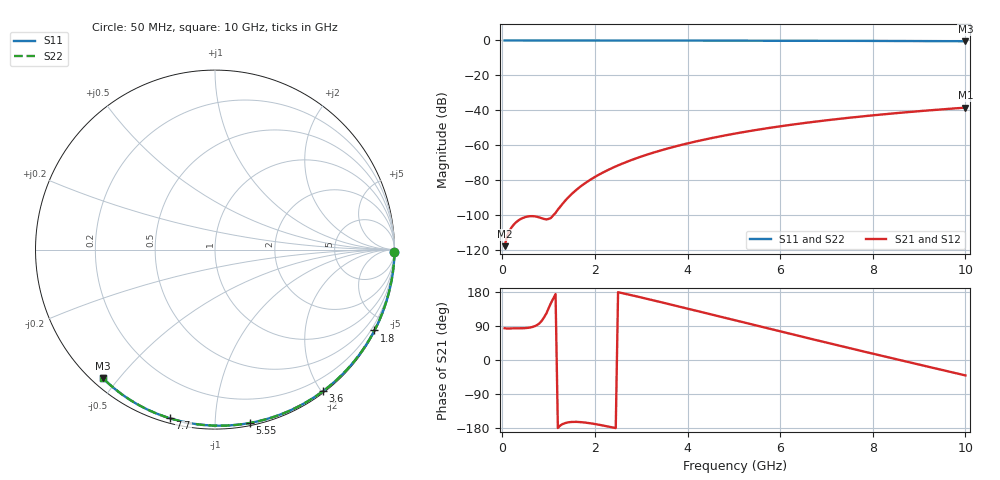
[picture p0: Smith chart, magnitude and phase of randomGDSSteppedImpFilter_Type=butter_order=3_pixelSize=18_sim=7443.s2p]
! freq	dB(S11)	phase(S11)	dB(S12)	phase(S12)
!  dB(S21)	phase(S21)	dB(S22)	phase(S22)
!S-par simulation data
#  GHz  S  DB  R 50
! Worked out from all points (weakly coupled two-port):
!   200 points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, 50 MHz to 10 GHz, reference 50 ohm
!   highest |S21| = -38.42 dB at 10 GHz (marker M1); lowest = -117.7 dB at 50 MHz (marker M2)
!   lowest |S11| = -0.4 dB at 10 GHz (marker M3), VSWR 39.14, Z = 1.54 - j22.6 ohm
!   |S11| at or under -10 dB: nowhere
!   |S22| runs from -0.4 to 0.0 dB; largest |S21 - S12| = 0
!   S11 on the Smith chart (normalised r, x): 50 MHz: open; 1.8 GHz: 0.04, -4.18; 3.6 GHz: 0.02, -2.02; 5.55 GHz: 0.02, -1.22; 7.7 GHz: 0.02, -0.77; 10 GHz: 0.03, -0.45
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0.05  -0.00 -0.8  -117.67 83.8  -117.67 83.8  -0.00 -0.8
0.9  -0.02 -13.6  -102.10 112.2  -102.10 112.2  -0.02 -13.6
1.75  -0.03 -26.2  -82.35 -164.6  -82.35 -164.6  -0.03 -26.2
1.8  -0.03 -26.9  -81.41 -165.3  -81.41 -165.3  -0.03 -26.9
1.85  -0.04 -27.6  -80.52 -166.1  -80.52 -166.1  -0.04 -27.6
1.9  -0.04 -28.4  -79.67 -167.0  -79.67 -167.0  -0.04 -28.4
2.05  -0.04 -30.5  -77.30 -170.0  -77.30 -170.0  -0.04 -30.5
2.25  -0.04 -33.5  -74.50 -174.6  -74.50 -174.6  -0.04 -33.5
2.45  -0.05 -36.3  -72.03 -179.7  -72.03 -179.7  -0.05 -36.3
2.65  -0.05 -39.2  -69.81 174.9  -69.81 174.9  -0.05 -39.2
3  -0.06 -44.2  -66.40 165.0  -66.40 165.0  -0.06 -44.2
3.4  -0.07 -49.8  -63.07 153.4  -63.07 153.4  -0.07 -49.8
3.6  -0.07 -52.6  -61.58 147.5  -61.58 147.5  -0.07 -52.6
4.3  -0.09 -62.2  -57.07 126.6  -57.07 126.6  -0.09 -62.2
5.05  -0.11 -72.1  -53.14 104.1  -53.14 104.1  -0.11 -72.1
5.55  -0.13 -78.6  -50.91 89.1  -50.91 89.1  -0.13 -78.6
6.1  -0.15 -85.5  -48.73 72.6  -48.73 72.6  -0.15 -85.5
6.7  -0.18 -92.9  -46.63 54.8  -46.63 54.8  -0.18 -92.9
7.7  -0.24 -104.9  -43.63 25.5  -43.63 25.5  -0.24 -104.9
8.35  -0.29 -112.5  -41.95 6.6  -41.95 6.6  -0.29 -112.5
9.15  -0.36 -121.7  -40.12 -16.4  -40.12 -16.4  -0.36 -121.7
10  -0.44 -131.2  -38.42 -40.6  -38.42 -40.6  -0.44 -131.2
